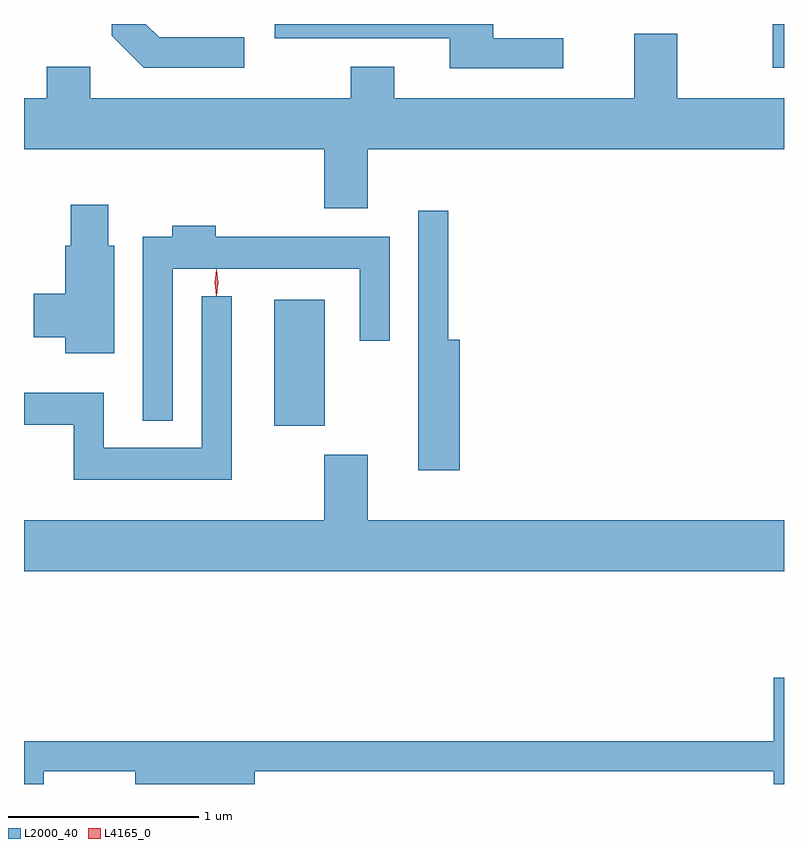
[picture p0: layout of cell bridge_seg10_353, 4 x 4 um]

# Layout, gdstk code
import gdstk
lib = gdstk.Library(unit=1e-6, precision=1e-09)
def R(c, l, rs):  # rectangles x0, y0, x1, y1
    for r in rs: c.add(gdstk.rectangle(r[:2], r[2:], *l))
def P(c, l, *ps):  # polygons
    for p in ps: c.add(gdstk.Polygon(p, *l))
L2000_40 = (2000, 40)
L4165_0 = (4165, 0)

bridge_seg10_353 = lib.new_cell('bridge_seg10_353')
R(bridge_seg10_353, L2000_40, [(1065.886,2132.441,1066.154,2133.104), (1068.511,2134.326,1068.57,2134.555)])
P(bridge_seg10_353, L2000_40, [(1067.408,2134.479),(1067.039,2134.479),(1067.039,2134.555),(1065.891,2134.555),(1065.891,2134.481),(1066.811,2134.481),(1066.811,2134.321),(1067.408,2134.321)],
  [(1065.728,2134.484),(1065.282,2134.484),(1065.211,2134.555),(1065.031,2134.555),(1065.031,2134.494),(1065.199,2134.326),(1065.728,2134.326)],
  [(1066.379,2133.896),(1068.57,2133.896),(1068.57,2134.164),(1068.009,2134.164),(1068.009,2134.504),(1067.781,2134.504),(1067.781,2134.164),(1066.519,2134.164),(1066.519,2134.329),(1066.291,2134.329),(1066.291,2134.164),(1064.919,2134.164),(1064.919,2134.329),(1064.691,2134.329),(1064.691,2134.164),(1064.57,2134.164),(1064.57,2133.896),(1066.151,2133.896),(1066.151,2133.586),(1066.379,2133.586)],
  [(1065.044,2133.389),(1065.014,2133.389),(1065.014,2133.604),(1064.816,2133.604),(1064.816,2133.389),(1064.786,2133.389),(1064.786,2133.134),(1064.621,2133.134),(1064.621,2132.906),(1064.786,2132.906),(1064.786,2132.821),(1065.044,2132.821)],
  [(1066.864,2132.894),(1066.804,2132.894),(1066.804,2133.573),(1066.646,2133.573),(1066.646,2132.206),(1066.864,2132.206)],
  [(1065.354,2133.266),(1066.336,2133.266),(1066.336,2132.888),(1066.494,2132.888),(1066.494,2133.434),(1065.579,2133.434),(1065.579,2133.494),(1065.351,2133.494),(1065.351,2133.434),(1065.196,2133.434),(1065.196,2132.468),(1065.354,2132.468)],
  [(1065.664,2133.123),(1065.506,2133.123),(1065.506,2132.324),(1064.989,2132.324),(1064.989,2132.614),(1064.57,2132.614),(1064.57,2132.446),(1064.831,2132.446),(1064.831,2132.156),(1065.664,2132.156)],
  [(1068.57,2131.944),(1066.379,2131.944),(1066.379,2132.289),(1066.151,2132.289),(1066.151,2131.944),(1064.57,2131.944),(1064.57,2131.676),(1068.57,2131.676)],
  [(1064.674,2130.621),(1065.156,2130.621),(1065.156,2130.555),(1065.784,2130.555),(1065.784,2130.621),(1068.516,2130.621),(1068.516,2130.555),(1068.57,2130.555),(1068.57,2131.114),(1068.516,2131.114),(1068.516,2130.779),(1064.57,2130.779),(1064.57,2130.555),(1064.674,2130.555)])
P(bridge_seg10_353, L4165_0, [(1065.583,2133.124),(1065.583,2133.124),(1065.573,2133.193),(1065.583,2133.262),(1065.583,2133.263),(1065.584,2133.262),(1065.593,2133.193),(1065.584,2133.124)])

lib.write_gds('bridge_seg10_353.gds')
